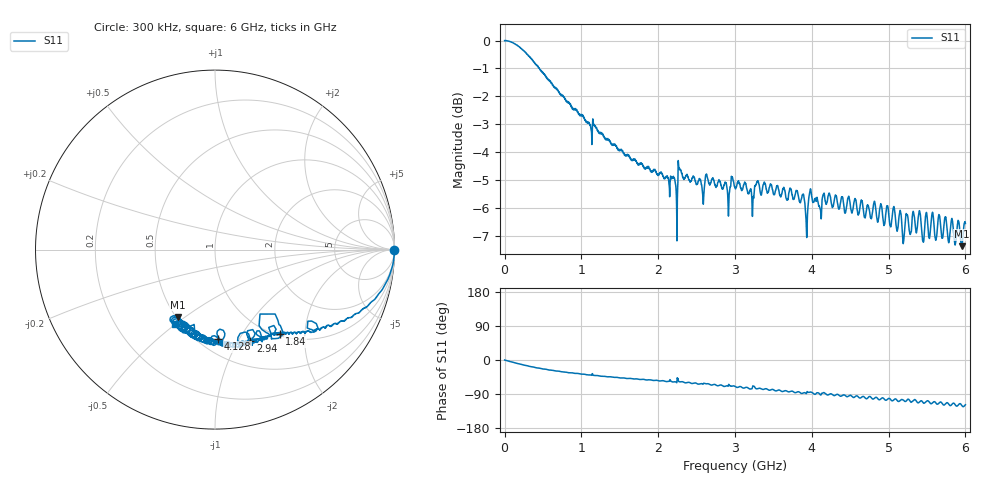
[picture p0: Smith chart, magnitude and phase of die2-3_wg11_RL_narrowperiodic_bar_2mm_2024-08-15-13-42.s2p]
!Keysight Technologies,P9374A,MY57304198,A.17.20.09
!Date: Thursday, August 15, 2024 13:42:12
!Correction: S11(C  1-Port  )
!S21(C  1-Port  )
!S12(Off)
!S22(Off)
!S2P File: Measurements: S11, S21, S12, S22:
# Hz S  dB  R 50
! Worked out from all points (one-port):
!   6000 points, 300 kHz to 6 GHz, reference 50 ohm
!   lowest |S11| = -7.4 dB at 5.95 GHz (marker M1), VSWR 2.50, Z = 25.5 - j23.4 ohm
!   |S11| at or under -10 dB: nowhere
!   S11 on the Smith chart (normalised r, x): 300 kHz: open; 1.84 GHz: 1.03, -1.49; 2.94 GHz: 0.77, -1.13; 4.128 GHz: 0.62, -0.82; 6 GHz: 0.47, -0.50
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300000  -0.00 -0.0  -200.00 45.0  -200.00 45.0  -200.00 45.0
1.813211e8  -0.21 -9.9  -200.00 45.0  -200.00 45.0  -200.00 45.0
4.173487e8  -0.87 -20.6  -200.00 45.0  -200.00 45.0  -200.00 45.0
6.643775e8  -1.68 -28.9  -200.00 45.0  -200.00 45.0  -200.00 45.0
1.000417e9  -2.66 -37.3  -200.00 45.0  -200.00 45.0  -200.00 45.0
1.839515e9  -4.57 -52.5  -200.00 45.0  -200.00 45.0  -200.00 45.0
2.000533e9  -4.81 -54.6  -200.00 45.0  -200.00 45.0  -200.00 45.0
2.215558e9  -4.96 -57.5  -200.00 45.0  -200.00 45.0  -200.00 45.0
2.277566e9  -4.58 -57.6  -200.00 45.0  -200.00 45.0  -200.00 45.0
2.520594e9  -5.04 -63.7  -200.00 45.0  -200.00 45.0  -200.00 45.0
2.939643e9  -5.23 -68.9  -200.00 45.0  -200.00 45.0  -200.00 45.0
3.00065e9  -5.27 -69.8  -200.00 45.0  -200.00 45.0  -200.00 45.0
3.196673e9  -5.36 -76.6  -200.00 45.0  -200.00 45.0  -200.00 45.0
3.25668e9  -5.21 -71.4  -200.00 45.0  -200.00 45.0  -200.00 45.0
3.289684e9  -5.05 -75.9  -200.00 45.0  -200.00 45.0  -200.00 45.0
3.800743e9  -5.38 -85.4  -200.00 45.0  -200.00 45.0  -200.00 45.0
3.930759e9  -6.85 -88.3  -200.00 45.0  -200.00 45.0  -200.00 45.0
4.000767e9  -5.60 -85.5  -200.00 45.0  -200.00 45.0  -200.00 45.0
4.127782e9  -6.04 -88.0  -200.00 45.0  -200.00 45.0  -200.00 45.0
5.000883e9  -6.20 -101.4  -200.00 45.0  -200.00 45.0  -200.00 45.0
5.949994e9  -7.36 -119.0  -200.00 45.0  -200.00 45.0  -200.00 45.0
6e9  -6.55 -118.1  -200.00 45.0  -200.00 45.0  -200.00 45.0
